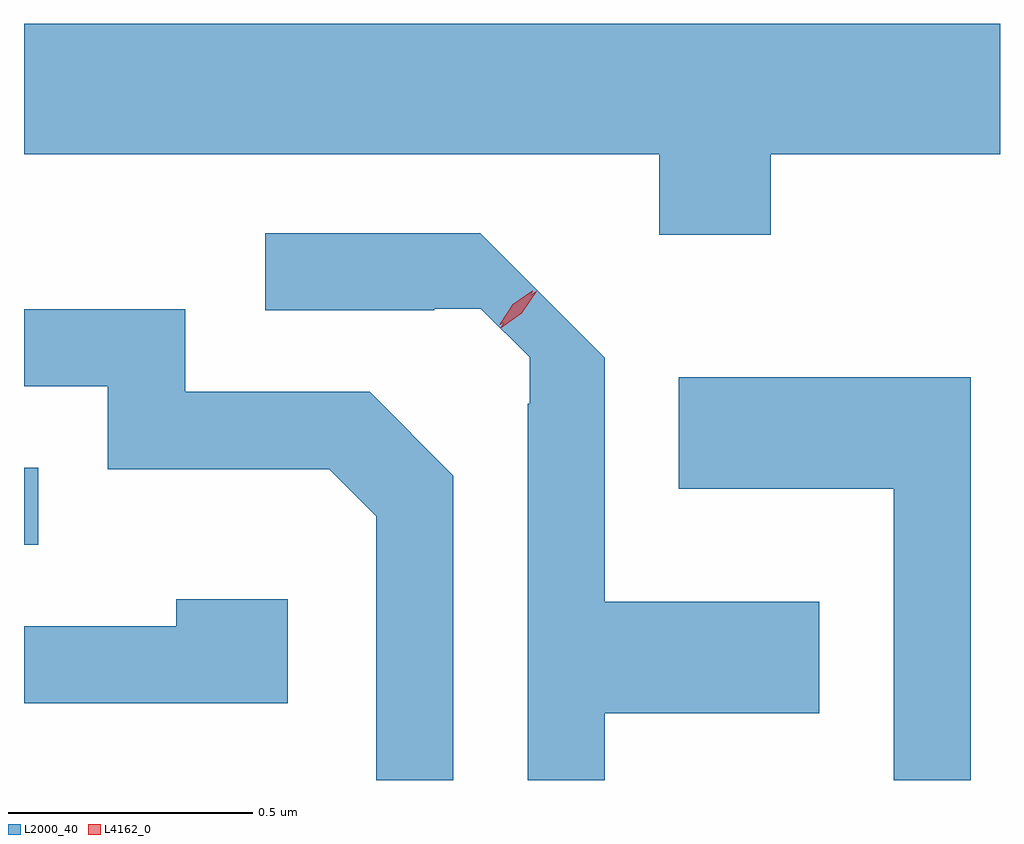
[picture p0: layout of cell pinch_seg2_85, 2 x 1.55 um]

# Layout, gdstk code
import gdstk
lib = gdstk.Library(unit=1e-6, precision=1e-09)
def R(c, l, rs):  # rectangles x0, y0, x1, y1
    for r in rs: c.add(gdstk.rectangle(r[:2], r[2:], *l))
def P(c, l, *ps):  # polygons
    for p in ps: c.add(gdstk.Polygon(p, *l))
L2000_40 = (2000, 40)
L4162_0 = (4162, 0)

pinch_seg2_85 = lib.new_cell('pinch_seg2_85')
R(pinch_seg2_85, L2000_40, [(1128.729,987.576,1128.758,987.734)])
P(pinch_seg2_85, L2000_40, [(1130.259,988.376),(1130.729,988.376),(1130.729,988.644),(1128.729,988.644),(1128.729,988.376),(1130.031,988.376),(1130.031,988.211),(1130.259,988.211)],
  [(1129.919,987.231),(1130.359,987.231),(1130.359,987.459),(1129.919,987.459),(1129.919,987.959),(1129.664,988.214),(1129.223,988.214),(1129.223,988.056),(1129.57,988.056),(1129.57,988.06),(1129.665,988.06),(1129.765,987.96),(1129.765,987.865),(1129.761,987.865),(1129.761,987.093),(1129.919,987.093)],
  [(1129.609,987.717),(1129.437,987.889),(1129.059,987.889),(1129.059,988.059),(1128.729,988.059),(1128.729,987.901),(1128.901,987.901),(1128.901,987.731),(1129.354,987.731),(1129.451,987.634),(1129.451,987.093),(1129.609,987.093)],
  [(1130.669,987.919),(1130.071,987.919),(1130.071,987.691),(1130.511,987.691),(1130.511,987.093),(1130.669,987.093)],
  [(1129.269,987.464),(1129.041,987.464),(1129.041,987.409),(1128.729,987.409),(1128.729,987.251),(1129.269,987.251)])
P(pinch_seg2_85, L4162_0, [(1129.704,988.027),(1129.704,988.028),(1129.731,988.069),(1129.771,988.096),(1129.772,988.096),(1129.772,988.095),(1129.745,988.055),(1129.705,988.027)],
  [(1129.705,988.02),(1129.705,988.02),(1129.735,988.065),(1129.779,988.095),(1129.78,988.095),(1129.78,988.095),(1129.749,988.05),(1129.706,988.02)])

lib.write_gds('pinch_seg2_85.gds')
